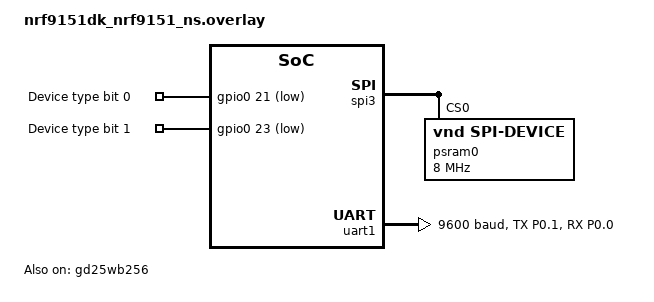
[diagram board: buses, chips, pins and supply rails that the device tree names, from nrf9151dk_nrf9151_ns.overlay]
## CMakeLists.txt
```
#
# Copyright (c) 2024 Nordic Semiconductor
#
# SPDX-License-Identifier: LicenseRef-Nordic-5-Clause
#

cmake_minimum_required(VERSION 3.20.0)

find_package(Zephyr REQUIRED HINTS $ENV{ZEPHYR_BASE})
project(hello_dect)

target_sources(app PRIVATE
  src/main.c
  src/radio.c
  src/mesh.c
  src/queue.c
  src/nvs_store.c
  src/identity.c
  src/at_cmd.c
  src/common.c
  src/display.c
  src/gateway/gateway.c
  src/anchor/anchor.c
  src/sensor/sensor.c
  src/psram.c
  src/large_data.c
)
```

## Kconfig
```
#
# Copyright (c) 2024 Nordic Semiconductor
#
# SPDX-License-Identifier: LicenseRef-Nordic-5-Clause
#

config CARRIER
	int "Carrier to use"
	default 0
	help
	   The availability of the channels and the exact regulation to use them varies in different countries.
	   See ETSI TS 103 636-2 5.4.2 for the calculation.
	   Band index 1 is set when the carrier is within the range of 525 to 551.
	   This is the only range allowed for band index 1 as other carriers will interfere with other radio devices, including LTE devices.

config NETWORK_ID
	int "Network ID"
	range 1 4294967295
	default 91

config MCS
	int "MCS"
	default 1
	help
	   The MCS impacts how much data can fit into each subslot.

config TX_POWER
	int "TX power"
	range 0 13
	default 13
	help
	   Transmission power, max 19 dBm due to hardware limitations.
	   See table 6.2.1-3 of ETSI TS 103 636-4 v1.5.1.

config RX_PERIOD_S
	int "RX period"
	default 5
	help
	   Receive window period.
	   Time is given in seconds.

config RADIO_LOG_LEVEL
	int "Radio log level"
	default 1

config ANCHOR_LOG_LEVEL
	int "Anchor log level"
	default 1

config GATEWAY_LOG_LEVEL
	int "Gateway log level"
	default 1

config SENSOR_LOG_LEVEL
	int "Sensor log level"
	default 1

config DISPLAY_LOG_LEVEL
	int "Display log level"
	default 1

config IDENTITY_LOG_LEVEL
	int "Identity log level"
	default 1

config LARGE_DATA_LOG_LEVEL
	int "Large data log level"
	default 1

config MAIN_LOG_LEVEL
	int "Main log level"
	default 1

config MESH_LOG_LEVEL
	int "Mesh log level"
	default 1

config NVS_STORE_LOG_LEVEL
	int "NVS store log level"
	default 1

config PSRAM_LOG_LEVEL
	int "PSRAM log level"
	default 1

config COMMON_LOG_LEVEL
	int "Common log level"
	default 1

config QUEUE_LOG_LEVEL
	int "Queue log level"
	default 1

module = DECT_PHY_MESH
module-str = DECT NR+ PHY Mesh
source "$(ZEPHYR_BASE)/subsys/logging/Kconfig.template.log_config"

menu "Zephyr Kernel"
source "Kconfig.zephyr"
endmenu
```

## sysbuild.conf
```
SB_CONFIG_BOOTLOADER_MCUBOOT=y
SB_CONFIG_PM_EXTERNAL_FLASH_MCUBOOT_SECONDARY=y
```

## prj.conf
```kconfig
CONFIG_NRF_MODEM_LIB=y

CONFIG_MODEM_ANTENNA=n

CONFIG_NRF_MODEM_LINK_BINARY_DECT_PHY=y
CONFIG_HWINFO=y

CONFIG_LOG=y

CONFIG_CARRIER=538
CONFIG_TX_POWER=13

CONFIG_MCS=0

# Flash / NVS on external flash for persistent storage
CONFIG_FLASH=y
CONFIG_FLASH_MAP=y
CONFIG_NVS=y

# SPI for ESP-PSRAM64 and external flash
CONFIG_SPI=y
CONFIG_SPI_NOR=y
CONFIG_SPI_NOR_SFDP_DEVICETREE=y
CONFIG_SPI_NOR_FLASH_LAYOUT_PAGE_SIZE=4096

# Random number generator (needed for pairing)
CONFIG_ENTROPY_GENERATOR=y

# GPIO for button (factory reset)
CONFIG_GPIO=y
CONFIG_DK_LIBRARY=y

# Reboot support
CONFIG_REBOOT=y

# System heap for sensor TX buffers and anchor relay reads
CONFIG_HEAP_MEM_POOL_SIZE=81920

# Main thread stack (gateway OTA upload + flash operations need more)
CONFIG_MAIN_STACK_SIZE=4096

# UART for DFR0997 LCD display (release UART1 from TF-M secure domain)
CONFIG_SERIAL=y
CONFIG_UART_NRFX=y
CONFIG_TFM_LOG_LEVEL_SILENCE=y

# Logs
CONFIG_RADIO_LOG_LEVEL=1
CONFIG_ANCHOR_LOG_LEVEL=4
CONFIG_GATEWAY_LOG_LEVEL=4
CONFIG_SENSOR_LOG_LEVEL=4
CONFIG_DISPLAY_LOG_LEVEL=4
CONFIG_IDENTITY_LOG_LEVEL=4
CONFIG_LARGE_DATA_LOG_LEVEL=4
CONFIG_MAIN_LOG_LEVEL=4
CONFIG_MESH_LOG_LEVEL=4
CONFIG_NVS_STORE_LOG_LEVEL=4
CONFIG_PSRAM_LOG_LEVEL=4
CONFIG_COMMON_LOG_LEVEL=4
CONFIG_QUEUE_LOG_LEVEL=4

# Console input for AT commands
CONFIG_CONSOLE_SUBSYS=y
CONFIG_CONSOLE_GETLINE=y

# MCUboot bootloader (OTA update support)
CONFIG_BOOTLOADER_MCUBOOT=y
CONFIG_IMG_MANAGER=y
CONFIG_MCUBOOT_IMG_MANAGER=y
CONFIG_IMG_ERASE_PROGRESSIVELY=y
CONFIG_STREAM_FLASH=y
CONFIG_PM_OVERRIDE_EXTERNAL_DRIVER_CHECK=y

# MCUmgr SMP server over UART (firmware upload via mcumgr CLI)
CONFIG_MCUMGR=y
CONFIG_MCUMGR_TRANSPORT_UART=y
CONFIG_MCUMGR_GRP_IMG=y
CONFIG_MCUMGR_GRP_OS=y
CONFIG_NET_BUF=y
CONFIG_ZCBOR=y
CONFIG_CRC=y
CONFIG_BASE64=y
```

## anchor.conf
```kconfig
CONFIG_DEVICE_TYPE=2
```

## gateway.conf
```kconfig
CONFIG_DEVICE_TYPE=1
```

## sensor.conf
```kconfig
CONFIG_DEVICE_TYPE=3
```

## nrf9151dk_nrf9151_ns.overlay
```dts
/*
 * Device-type selection pins (active-low, internal pull-up):
 *   P0.21  P0.23  →  type
 *     0      0       Gateway
 *     0      1       Anchor
 *     1      0       Sensor
 *     1      1       (reserved, defaults to Sensor)
 */
/ {
	chosen {
		nordic,pm-ext-flash = &gd25wb256;
	};

	device_type_pins {
		compatible = "gpio-keys";
		devtype_pin0: devtype_pin0 {
			gpios = <&gpio0 21 (GPIO_ACTIVE_LOW | GPIO_PULL_UP)>;
			label = "Device type bit 0";
		};
		devtype_pin1: devtype_pin1 {
			gpios = <&gpio0 23 (GPIO_ACTIVE_LOW | GPIO_PULL_UP)>;
			label = "Device type bit 1";
		};
	};
};

/*
 * SPI3 bus: both external flash (CS1=P0.20) and PSRAM (CS0=D10) coexist.
 * The SPI driver selects the correct CS based on the device's reg index.
 */

&gd25wb256 {
	status = "okay";
};

&spi3 {
	psram0: psram0@0 {
		compatible = "vnd,spi-device";
		reg = <0>;
		spi-max-frequency = <8000000>;
	};
};

/* UART1 for DFR0997 LCD display (9600 baud) */
&uart1 {
	status = "okay";
	current-speed = <9600>;
	pinctrl-0 = <&uart1_default>;
	pinctrl-1 = <&uart1_sleep>;
	pinctrl-names = "default", "sleep";
};

&pinctrl {
	uart1_default: uart1_default {
		group1 {
			psels = <NRF_PSEL(UART_TX, 0, 1)>,
				<NRF_PSEL(UART_RX, 0, 0)>;
		};
	};
	uart1_sleep: uart1_sleep {
		group1 {
			psels = <NRF_PSEL(UART_TX, 0, 1)>,
				<NRF_PSEL(UART_RX, 0, 0)>;
			low-power-enable;
		};
	};
};
```

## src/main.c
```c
/*
 * Copyright (c) 2024 Nordic Semiconductor ASA
 *
 * SPDX-License-Identifier: LicenseRef-Nordic-5-Clause
 */

#include <zephyr/kernel.h>
#include <zephyr/logging/log.h>
#include <zephyr/sys/reboot.h>
#include <zephyr/drivers/gpio.h>
#include <nrf_modem_dect_phy.h>
#include <modem/nrf_modem_lib.h>
#include <nrf_modem_at.h>
#include <zephyr/drivers/hwinfo.h>
#include <dk_buttons_and_leds.h>
#include "protocol.h"
#include "radio.h"
#include "nvs_store.h"
#include "identity.h"
#include "mesh.h"
#include "display.h"
#include "psram.h"
#include "large_data.h"
#include "at_cmd.h"
#include <zephyr/app_version.h>
#include <stdio.h>

LOG_MODULE_REGISTER(main, CONFIG_MAIN_LOG_LEVEL);

BUILD_ASSERT(CONFIG_CARRIER, "Carrier must be configured according to local regulations");

/* Device-type selection pins from devicetree */
#define DEVTYPE_PIN0_NODE DT_NODELABEL(devtype_pin0)
#define DEVTYPE_PIN1_NODE DT_NODELABEL(devtype_pin1)

static const struct gpio_dt_spec devtype_pin0 = GPIO_DT_SPEC_GET(DEVTYPE_PIN0_NODE, gpios);
static const struct gpio_dt_spec devtype_pin1 = GPIO_DT_SPEC_GET(DEVTYPE_PIN1_NODE, gpios);

/**
 * Read P0.21 and P0.23 to determine device type.
 *   P0.21=0, P0.23=0 → Gateway
 *   P0.21=0, P0.23=1 → Anchor
 *   P0.21=1, P0.23=0 → Sensor
 *   P0.21=1, P0.23=1 → Sensor (reserved)
 */
static device_type_t device_type_read_pins(void)
{
	int bit0, bit1;

	if (!gpio_is_ready_dt(&devtype_pin0) || !gpio_is_ready_dt(&devtype_pin1)) {
		LOG_ERR("Device-type GPIO not ready, defaulting to Sensor");
		return DEVICE_TYPE_SENSOR;
	}

	gpio_pin_configure_dt(&devtype_pin0, GPIO_INPUT);
	gpio_pin_configure_dt(&devtype_pin1, GPIO_INPUT);

	bit0 = gpio_pin_get_dt(&devtype_pin0);  /* P0.21 */
	bit1 = gpio_pin_get_dt(&devtype_pin1);  /* P0.23 */

	LOG_INF("Device-type pins: P0.21=%d P0.23=%d", bit0, bit1);

	if (bit0 == 0 && bit1 == 0) {
		return DEVICE_TYPE_GATEWAY;
	} else if (bit0 == 0 && bit1 == 1) {
		return DEVICE_TYPE_ANCHOR;
	} else {
		return DEVICE_TYPE_SENSOR;
	}
}

/* Shared device state */
uint16_t device_id;
device_type_t my_device_type;
uint8_t my_hop_num;

/* Factory reset: hold button 1 for 2 seconds */
#define FACTORY_RESET_HOLD_MS 2000

/* Button semaphores for sensor triggers */
K_SEM_DEFINE(btn2_sem, 0, 1);
K_SEM_DEFINE(btn3_sem, 0, 1);
K_SEM_DEFINE(btn4_sem, 0, 1);

static int64_t btn1_press_time;

static void button_handler(uint32_t button_state, uint32_t has_changed)
{
	if (has_changed & DK_BTN1_MSK) {
		if (button_state & DK_BTN1_MSK) {
			btn1_press_time = k_uptime_get();
		} else {
			int64_t held_ms = k_uptime_get() - btn1_press_time;

			if (held_ms >= FACTORY_RESET_HOLD_MS) {
				LOG_WRN("Factory reset! Clearing NVM...");
				int err = storage_clear_all();
				if (err) {
					LOG_ERR("NVM clear failed, err %d", err);
				}
				LOG_WRN("Factory reset complete. Rebooting...");
				k_sleep(K_MSEC(500));
				sys_reboot(SYS_REBOOT_COLD);
			}
		}
	}

	/* Button 2 press triggers small data send */
	if ((has_changed & DK_BTN2_MSK) && (button_state & DK_BTN2_MSK)) {
		k_sem_give(&btn2_sem);
	}

	/* Button 3 press triggers 50KB large data send */
	if ((has_changed & DK_BTN3_MSK) && (button_state & DK_BTN3_MSK)) {
		k_sem_give(&btn3_sem);
	}

	/* Button 4 press triggers 75KB large data send */
	if ((has_changed & DK_BTN4_MSK) && (button_state & DK_BTN4_MSK)) {
		k_sem_give(&btn4_sem);
	}
}

int main(void)
{
	int err;

	my_device_type = device_type_read_pins();

	if (my_device_type == DEVICE_TYPE_GATEWAY) {
		my_hop_num = 0;
	}

	LOG_INF("DECT NR+ Mesh [%s] v%s started",
		device_type_str(my_device_type), APP_VERSION_STRING);

	/* Initialize NVS storage */
	err = storage_init();
	if (err) {
		LOG_ERR("storage init failed, err %d", err);
		return err;
	}

	/* Load RSSI threshold from NVM (or use default) */
	mesh_rssi_threshold_load();

	/* Initialize buttons for factory reset */
	err = dk_buttons_init(button_handler);
	if (err) {
		LOG_ERR("buttons init failed, err %d", err);
		return err;
	}

	/* Initialize modem and PHY */
	err = nrf_modem_lib_init();
	if (err) {
		LOG_ERR("modem init failed, err %d", err);
		return err;
	}

	err = nrf_modem_dect_phy_event_handler_set(dect_phy_event_handler);
	if (err) {
		LOG_ERR("event_handler_set failed, err %d", err);
		return err;
	}

	// /* --- CW TX power test (must run before phy_init) --- */
	// LOG_INF("CW test: +19 dBm on carrier %d for 5s — check SA at J1", CONFIG_CARRIER);
	// err = nrf_modem_dect_phy_test_rf_tx_cw_control(
	// 	NRF_MODEM_DECT_PHY_TEST_RF_TX_CW_OPER_ON,
	// 	CONFIG_CARRIER, 19);
	// if (err) {
	// 	LOG_ERR("CW start failed: %d", err);
	// } else {
	// 	k_sem_take(&operation_sem, K_FOREVER);
	// 	k_sleep(K_SECONDS(100));
	// 	nrf_modem_dect_phy_test_rf_tx_cw_control(
	// 		NRF_MODEM_DECT_PHY_TEST_RF_TX_CW_OPER_OFF,
	// 		CONFIG_CARRIER, 0);
	// 	k_sem_take(&operation_sem, K_FOREVER);
	// 	LOG_INF("CW test done");
	// }
	// /* --- End CW test --- */

	err = nrf_modem_dect_phy_init();
	if (err) {
		LOG_ERR("phy_init failed, err %d", err);
		return err;
	}
	k_sem_take(&operation_sem, K_FOREVER);
	if (exit_flag) {
		return -EIO;
	}

	err = nrf_modem_dect_phy_configure(&dect_phy_config_params);
	if (err) {
		LOG_ERR("phy_configure failed, err %d", err);
		return err;
	}
	k_sem_take(&operation_sem, K_FOREVER);
	if (exit_flag) {
		return -EIO;
	}

	err = nrf_modem_dect_phy_activate(NRF_MODEM_DECT_PHY_RADIO_MODE_LOW_LATENCY);
	if (err) {
		LOG_ERR("phy_activate failed, err %d", err);
		return err;
	}
	k_sem_take(&operation_sem, K_FOREVER);
	if (exit_flag) {
		return -EIO;
	}

	hwinfo_get_device_id((void *)&device_id, sizeof(device_id));
	LOG_INF("PHY ready, device ID: %d", device_id);

	/* Initialize and show device type + ID on DFR0997 display */
	err = display_init();
	if (err) {
		LOG_WRN("display init failed, err %d (continuing)", err);
	} else {
		display_header(my_device_type, device_id);
	}

	/* Initialize PSRAM + large data transfer module */
	err = psram_init();
	if (err) {
		LOG_ERR("PSRAM init failed, err %d", err);
	} else {
		large_data_init();
	}

	/* Start AT command handler (reads from console UART) */
	at_cmd_init();

	/* Dispatch to device-type entry point */
	switch (my_device_type) {
	case DEVICE_TYPE_GATEWAY:
		gateway_main();
		break;
	case DEVICE_TYPE_ANCHOR:
		anchor_main();
		break;
	case DEVICE_TYPE_SENSOR:
		sensor_main();
		break;
	default:
		LOG_ERR("Unknown device type");
		break;
	}

	/* Shutdown */
	nrf_modem_dect_phy_deactivate();
	k_sem_take(&deinit_sem, K_FOREVER);
	nrf_modem_dect_phy_deinit();
	k_sem_take(&deinit_sem, K_FOREVER);
	nrf_modem_lib_shutdown();

	LOG_INF("Bye!");
	return 0;
}
```

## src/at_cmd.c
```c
/*
 * Custom AT command handler for DECT NR+ mesh network
 *
 * Uses Zephyr console_getline() API in a dedicated thread.
 * This coexists with MCUmgr SMP and logging on the same UART.
 *
 * Usage from serial terminal:
 *   AT              → OK
 *   AT+VERSION?     → +VERSION: 1.0.0
 *   AT+INFO?        → All device info
 *   AT+PAIR?        → List paired devices
 *   AT+OTA_STAGE    → Stage OTA + reboot
 *   AT+OTA_DIST     → Distribute OTA
 *   AT+RESET        → Reboot
 */

#include <string.h>
#include <stdio.h>
#include <stdlib.h>
#include <zephyr/kernel.h>
#include <zephyr/console/console.h>
#include <zephyr/sys/reboot.h>
#include <zephyr/app_version.h>
#include "at_cmd.h"
#include "identity.h"
#include "protocol.h"
#include "nvs_store.h"
#include "mesh.h"
#include "common.h"

/* Paired store pointers — set at runtime by gateway/anchor main.
 * NULL on sensor (no children). */
const void *gw_anchor_store_ptr;
const void *gw_sensor_store_ptr;

/* AT+SEND_*_DATA semaphores — signaled to gateway main loop */
K_SEM_DEFINE(send_small_data_sem, 0, 1);
K_SEM_DEFINE(send_large_data_sem, 0, 1);

/* AT+SENSOR_<ID> / AT+ANCHOR_<ID> — parent query for a specific device */
K_SEM_DEFINE(parent_query_sem, 0, 1);
uint16_t parent_query_sensor_id;

/* AT+SENSOR_ALL / AT+ANCHOR_ALL — parent query for all devices */
K_SEM_DEFINE(parent_query_all_sem, 0, 1);
uint8_t parent_query_all_filter;  /* DEVICE_TYPE_SENSOR or DEVICE_TYPE_ANCHOR */

/* AT+REPAIR — broadcast factory reset to all paired devices */
K_SEM_DEFINE(repair_sem, 0, 1);

/* AT+SET_RSSI_<dBm> — broadcast new RSSI threshold to all devices */
K_SEM_DEFINE(set_rssi_sem, 0, 1);
int16_t set_rssi_value;

/* Thread configuration */
#define AT_CMD_STACK_SIZE 2048
#define AT_CMD_PRIORITY   10

static K_THREAD_STACK_DEFINE(at_cmd_stack, AT_CMD_STACK_SIZE);
static struct k_thread at_cmd_thread;

/* ===== Command handlers ===== */

static void at_ok(void)
{
	printk("OK\r\n");
}

static void cmd_version(void)
{
	printk("+VERSION: %d.%d.%d\r\nOK\r\n",
	       APP_VERSION_MAJOR, APP_VERSION_MINOR, APP_PATCHLEVEL);
}

static void cmd_devtype(void)
{
	printk("+DEVTYPE: %s\r\nOK\r\n", device_type_str(my_device_type));
}

static void cmd_devid(void)
{
	printk("+DEVID: %d\r\nOK\r\n", device_id);
}

static void cmd_hop(void)
{
	printk("+HOP: %d\r\nOK\r\n", my_hop_num);
}

static void cmd_rssi(void)
{
	printk("+RSSI: %d\r\nOK\r\n", last_rssi_dbm);
}

static void cmd_carrier(void)
{
	printk("+CARRIER: %d\r\nOK\r\n", CONFIG_CARRIER);
}

static void cmd_txpower(void)
{
	printk("+TXPOWER: %d\r\nOK\r\n", CONFIG_TX_POWER);
}

static void cmd_get_rssi(void)
{
	printk("+GET_RSSI: %d dBm\r\nOK\r\n", mesh_rssi_threshold_2 / 2);
}

static void cmd_info(void)
{
	printk("+INFO:\r\n");
	printk("  Device: %s ID:%d\r\n",
	       device_type_str(my_device_type), device_id);
	printk("  Version: %d.%d.%d\r\n",
	       APP_VERSION_MAJOR, APP_VERSION_MINOR, APP_PATCHLEVEL);
	printk("  Hop: %d\r\n", my_hop_num);
	printk("  Carrier: %d\r\n", CONFIG_CARRIER);
	printk("  TX Power: %d dBm\r\n", CONFIG_TX_POWER);
	printk("  RSSI: %d dBm\r\n", last_rssi_dbm);
	printk("OK\r\n");
}

static void cmd_pair(void)
{
	if (my_device_type == DEVICE_TYPE_SENSOR) {
		printk("+PAIR: sensor has no children\r\nOK\r\n");
		return;
	}

	if (!gw_anchor_store_ptr || !gw_sensor_store_ptr) {
		printk("ERROR: paired stores not available\r\n");
		return;
	}

	const paired_store_t *a_store = gw_anchor_store_ptr;
	const paired_store_t *s_store = gw_sensor_store_ptr;
	paired_device_info_t info;

	printk("+PAIR: Anchors\r\n");
	for (int i = 0; i < a_store->max_entries; i++) {
		if (paired_store_get_info(a_store, i, &info) == 0) {
			printk("  [%d] ID:%d v%d.%d.%d\r\n", i,
			       info.device_id, info.version_major,
			       info.version_minor, info.version_patch);
		}
	}

	printk("+PAIR: Sensors\r\n");
	for (int i = 0; i < s_store->max_entries; i++) {
		if (paired_store_get_info(s_store, i, &info) == 0) {
			printk("  [%d] ID:%d v%d.%d.%d\r\n", i,
			       info.device_id, info.version_major,
			       info.version_minor, info.version_patch);
		}
	}

	printk("OK\r\n");
}

static void cmd_factory_reset(void)
{
	if (my_device_type == DEVICE_TYPE_GATEWAY ||
	    my_device_type == DEVICE_TYPE_ANCHOR) {
		printk("+FACTORY_RESET: broadcasting to paired devices...\r\n");
		k_sem_give(&repair_sem);
		/* Gateway/anchor main loop handles broadcast + local reset */
		return;
	}

	/* Sensor: local-only reset */
	printk("+FACTORY_RESET: clearing NVM and rebooting...\r\n");
	factory_reset_reboot();
}

static void cmd_reset(void)
{
	printk("+RESET: rebooting...\r\n");
	k_sleep(K_MSEC(200));
	sys_reboot(SYS_REBOOT_COLD);
}

static void cmd_send_small_data(void)
{
	if (my_device_type != DEVICE_TYPE_GATEWAY) {
		printk("+SEND_SMALL_DATA: only available on gateway\r\n");
		printk("ERROR\r\n");
		return;
	}
	printk("+SEND_SMALL_DATA: requesting small data from all sensors...\r\n");
	k_sem_give(&send_small_data_sem);
	printk("OK\r\n");
}

static void cmd_send_large_data(void)
{
	if (my_device_type != DEVICE_TYPE_GATEWAY) {
		printk("+SEND_LARGE_DATA: only available on gateway\r\n");
		printk("ERROR\r\n");
		return;
	}
	printk("+SEND_LARGE_DATA: requesting large data from all sensors...\r\n");
	k_sem_give(&send_large_data_sem);
	printk("OK\r\n");
}

static void cmd_repair(void)
{
	if (my_device_type != DEVICE_TYPE_GATEWAY) {
		printk("+REPAIR: only available on gateway\r\n");
		printk("ERROR\r\n");
		return;
	}
	printk("+REPAIR: broadcasting factory reset to all devices...\r\n");
	k_sem_give(&repair_sem);
	printk("OK\r\n");
}

static void cmd_help(void)
{
	printk("+HELP:\r\n");
	printk("  AT              Test\r\n");
	printk("  AT+VERSION?     Firmware version\r\n");
	printk("  AT+DEVTYPE?     Device type\r\n");
	printk("  AT+DEVID?       Device ID\r\n");
	printk("  AT+HOP?         Hop number\r\n");
	printk("  AT+RSSI?        Last RSSI\r\n");
	printk("  AT+CARRIER?     Carrier freq\r\n");
	printk("  AT+TXPOWER?     TX power\r\n");
	printk("  AT+GET_RSSI?    RSSI threshold\r\n");
	printk("  AT+INFO?        All device info\r\n");
	printk("  AT+PAIR?        Paired devices\r\n");
	printk("  AT+SENSOR_<ID>  Query sensor parent info (gateway)\r\n");
	printk("  AT+SENSOR_ALL   Query all sensors parent info (gateway)\r\n");
	printk("  AT+ANCHOR_<ID>  Query anchor parent info (gateway)\r\n");
	printk("  AT+ANCHOR_ALL   Query all anchors parent info (gateway)\r\n");
	printk("  AT+SEND_SMALL_DATA  Request small data (gateway)\r\n");
	printk("  AT+SEND_LARGE_DATA  Request large data (gateway)\r\n");
	printk("  AT+SET_RSSI_<dBm> Set RSSI threshold (gateway)\r\n");
	printk("  AT+REPAIR       Factory reset all devices (gateway)\r\n");
	printk("  AT+FACTORY_RESET  Factory reset\r\n");
	printk("  AT+RESET        Reboot\r\n");
	printk("  AT+HELP         This help\r\n");
	printk("OK\r\n");
}

/* ===== Dispatch table ===== */

static const struct {
	const char *cmd;
	void (*handler)(void);
} at_commands[] = {
	{ "",              at_ok },
	{ "+VERSION?",     cmd_version },
	{ "+DEVTYPE?",     cmd_devtype },
	{ "+DEVID?",       cmd_devid },
	{ "+HOP?",         cmd_hop },
	{ "+RSSI?",        cmd_rssi },
	{ "+CARRIER?",     cmd_carrier },
	{ "+TXPOWER?",     cmd_txpower },
	{ "+GET_RSSI?",    cmd_get_rssi },
	{ "+INFO?",        cmd_info },
	{ "+PAIR?",        cmd_pair },
	{ "+SEND_SMALL_DATA", cmd_send_small_data },
	{ "+SEND_LARGE_DATA", cmd_send_large_data },
	{ "+REPAIR",        cmd_repair },
	{ "+FACTORY_RESET", cmd_factory_reset },
	{ "+RESET",        cmd_reset },
	{ "+HELP",         cmd_help },
};

#define AT_CMD_COUNT (sizeof(at_commands) / sizeof(at_commands[0]))

/* ===== Device query helper ===== */

static bool handle_device_query_cmd(const char *cmd_part, const char *prefix,
				    const char *label, uint8_t filter)
{
	size_t plen = strlen(prefix);
	if (strncmp(cmd_part, prefix, plen) != 0) {
		return false;
	}
	const char *suffix = cmd_part + plen;
	if (my_device_type != DEVICE_TYPE_GATEWAY) {
		printk("+%s: only available on gateway\r\n", label);
		printk("ERROR\r\n");
	} else if (strcmp(suffix, "ALL") == 0) {
		printk("+%s_ALL: querying parent of all...\r\n", label);
		parent_query_all_filter = filter;
		k_sem_give(&parent_query_all_sem);
		printk("OK\r\n");
	} else if (*suffix == '\0') {
		printk("ERROR: missing %s ID\r\n", label);
	} else {
		parent_query_sensor_id = (uint16_t)atoi(suffix);
		printk("+%s: querying parent of ID:%d...\r\n", label, parent_query_sensor_id);
		k_sem_give(&parent_query_sem);
		printk("OK\r\n");
	}
	return true;
}

/* ===== Console getline thread ===== */

static void at_cmd_thread_entry(void *p1, void *p2, void *p3)
{
	ARG_UNUSED(p1);
	ARG_UNUSED(p2);
	ARG_UNUSED(p3);

	console_getline_init();

	while (true) {
		char *line = console_getline();

		if (!line || line[0] == '\0') {
			continue;
		}

		/* Convert to uppercase */
		for (int i = 0; line[i]; i++) {
			if (line[i] >= 'a' && line[i] <= 'z') {
				line[i] -= 32;
			}
		}

		/* Must start with "AT" */
		if (line[0] != 'A' || line[1] != 'T') {
			continue;
		}

		const char *cmd_part = line + 2;

		bool found = false;
		for (int i = 0; i < AT_CMD_COUNT; i++) {
			if (strcmp(cmd_part, at_commands[i].cmd) == 0) {
				at_commands[i].handler();
				found = true;
				break;
			}
		}

		if (!found) found = handle_device_query_cmd(cmd_part, "+SENSOR_", "SENSOR", DEVICE_TYPE_SENSOR);
		if (!found) found = handle_device_query_cmd(cmd_part, "+ANCHOR_", "ANCHOR", DEVICE_TYPE_ANCHOR);

		/* Check for AT+SET_RSSI_<dBm> */
		if (!found && strncmp(cmd_part, "+SET_RSSI_", 10) == 0) {
			const char *val_str = cmd_part + 10;

			if (my_device_type != DEVICE_TYPE_GATEWAY) {
				printk("+SET_RSSI: only available on gateway\r\n");
				printk("ERROR\r\n");
			} else if (*val_str == '\0') {
				printk("ERROR: missing RSSI value\r\n");
			} else {
				set_rssi_value = (int16_t)(-atoi(val_str));
				printk("+SET_RSSI: broadcasting threshold %d dBm to all devices...\r\n",
				       set_rssi_value);
				k_sem_give(&set_rssi_sem);
				printk("OK\r\n");
			}
			found = true;
		}

		if (!found) {
			printk("ERROR: unknown command\r\n");
		}
	}
}

/* ===== Public API ===== */

void at_cmd_init(void)
{
	k_thread_create(&at_cmd_thread, at_cmd_stack,
			AT_CMD_STACK_SIZE,
			at_cmd_thread_entry, NULL, NULL, NULL,
			AT_CMD_PRIORITY, 0, K_NO_WAIT);
	k_thread_name_set(&at_cmd_thread, "at_cmd");
}
```

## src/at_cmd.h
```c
/*
 * Custom AT command handler for DECT NR+ mesh network
 *
 * Runs a UART RX thread on the console UART (uart0).
 * Lines starting with "AT" are parsed and executed.
 * Non-AT data (logging, SMP) passes through unaffected.
 *
 * Supported commands:
 *   AT                       → OK (basic test)
 *   AT+VERSION?              → +VERSION: <major>.<minor>.<patch>
 *   AT+DEVTYPE?              → +DEVTYPE: GATEWAY|ANCHOR|SENSOR
 *   AT+DEVID?                → +DEVID: <id>
 *   AT+HOP?                  → +HOP: <hop_num>
 *   AT+RSSI?                 → +RSSI: <dBm>
 *   AT+CARRIER?              → +CARRIER: <carrier>
 *   AT+TXPOWER?              → +TXPOWER: <dBm>
 *   AT+PAIR?                 → List all paired devices with version
 *   AT+OTA_STAGE             → Copy secondary → staging + reboot (gateway)
 *   AT+OTA_DIST              → Distribute OTA to mesh (gateway)
 *   AT+OTA_STATUS?           → +OTA_STATUS: staging version + validity
 *   AT+FACTORY_RESET         → Clear NVM + staging + reboot
 *   AT+RESET                 → Reboot
 *   AT+SEND_DATA             → Request all sensors to send data (gateway)
 */

#ifndef AT_CMD_H
#define AT_CMD_H

#include <zephyr/kernel.h>

/* Initialize the AT command handler.
 * Starts a UART RX thread that reads lines from the console UART.
 * Call once from main after all subsystems are initialized. */
void at_cmd_init(void);

/* Semaphores signaled by AT+SEND_SMALL_DATA / AT+SEND_LARGE_DATA.
 * Gateway main loop checks these to initiate data requests. */
extern struct k_sem send_small_data_sem;
extern struct k_sem send_large_data_sem;

/* AT+SENSOR_<ID> / AT+ANCHOR_<ID> — parent query for a specific device.
 * Gateway main loop checks parent_query_sem, reads parent_query_sensor_id,
 * sends PARENT_QUERY, and logs the PARENT_RESPONSE. */
extern struct k_sem parent_query_sem;
extern uint16_t parent_query_sensor_id;

/* AT+SENSOR_ALL / AT+ANCHOR_ALL — query parent info for all devices.
 * Sends PARENT_QUERY to all paired anchors and sensors.
 * parent_query_all_filter: DEVICE_TYPE_SENSOR or DEVICE_TYPE_ANCHOR */
extern struct k_sem parent_query_all_sem;
extern uint8_t parent_query_all_filter;

/* AT+REPAIR — broadcast factory reset to all paired devices, then self.
 * Gateway main loop checks this, sends REPAIR to all, waits 2s, resets. */
extern struct k_sem repair_sem;

/* AT+SET_RSSI_<dBm> — broadcast new RSSI threshold to all devices.
 * Gateway main loop checks set_rssi_sem, reads set_rssi_value,
 * broadcasts SET_RSSI, stores in NVM, then reboots. */
extern struct k_sem set_rssi_sem;
extern int16_t set_rssi_value;

#endif /* AT_CMD_H */
```

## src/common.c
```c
/*
 * Shared helpers for DECT NR+ mesh network
 */

#include <string.h>
#include <zephyr/kernel.h>
#include <zephyr/logging/log.h>
#include <zephyr/sys/reboot.h>
#include "common.h"
#include "identity.h"
#include "protocol.h"
#include "radio.h"
#include "queue.h"
#include "mesh.h"
#include "mesh_tx.h"
#include "crc.h"
#include "nvs_store.h"
#include "log_all.h"

LOG_MODULE_REGISTER(common, CONFIG_COMMON_LOG_LEVEL);

/* === Transmit and wait === */

int transmit_and_wait(void *data, size_t len)
{
	int err = transmit(TX_HANDLE, data, len);

	if (err) {
		return err;
	}
	k_sem_take(&operation_sem, K_FOREVER);
	return 0;
}

/* === Pair request handler (used by gateway + anchor) === */

void common_handle_pair_request(const pair_request_packet_t *pkt,
				int16_t rssi_2)
{
	ALL_INF("Pair request from %s ID:%d (RSSI:%d)",
		device_type_str(pkt->device_type), pkt->device_id,
		rssi_2 / 2);

	uint32_t hash = compute_pair_hash(pkt->device_id, pkt->random_num);

	int err = send_pair_response(TX_HANDLE, pkt->device_id, hash);

	if (err) {
		LOG_ERR("Failed to send pair response, err %d", err);
		return;
	}
	k_sem_take(&operation_sem, K_FOREVER);

	ALL_INF("Pair response sent to ID:%d", pkt->device_id);
}

/* === Data CRC verify + ACK === */

int common_data_verify_and_ack(const data_packet_t *pkt, uint16_t len,
			       int16_t rssi_2)
{
	if (pkt->dst_device_id != device_id) {
		return -1;
	}

	uint16_t payload_len = pkt->payload_len;
	uint16_t rx_crc;

	memcpy(&rx_crc, &pkt->payload[payload_len], sizeof(rx_crc));
	uint16_t calc_crc = compute_crc16(pkt->payload, payload_len);
	uint8_t status = (rx_crc == calc_crc) ? STATUS_SUCCESS
					      : STATUS_CRC_FAIL;

	if (status == STATUS_SUCCESS) {
		ALL_INF("Data from ID:%d (%d bytes, RSSI:%d) CRC OK",
			pkt->src_device_id, payload_len, rssi_2 / 2);
	} else {
		ALL_WRN("Data from ID:%d (%d bytes, RSSI:%d) CRC FAIL",
			pkt->src_device_id, payload_len, rssi_2 / 2);
	}

	data_ack_packet_t ack = {
		.packet_type = PACKET_TYPE_DATA_ACK,
		.src_device_id = device_id,
		.dst_device_id = pkt->src_device_id,
		.hop_num = my_hop_num,
		.status = status,
	};

	int err = transmit_and_wait(&ack, sizeof(ack));

	if (err) {
		ALL_ERR("Failed to send data ACK, err %d", err);
		return -2;
	}

	ALL_INF("Data ACK sent to ID:%d (status:%s)", pkt->src_device_id,
		status == STATUS_SUCCESS ? "OK" : "CRC_FAIL");

	return (int)status;
}

/* === Discovery response draining === */

void drain_discovery_responses(bool log_each)
{
	struct rx_queue_item item;

	while (rx_queue_get(&item, K_NO_WAIT) == 0) {
		if (item.len < 1) {
			continue;
		}
		if (item.data[0] != PACKET_TYPE_PAIR_RESPONSE ||
		    item.len < PAIR_RESPONSE_PACKET_SIZE) {
			continue;
		}
		const pair_response_packet_t *resp =
			(const pair_response_packet_t *)item.data;
		if (resp->dst_device_id != device_id) {
			continue;
		}
		discovery_add_response(resp, item.rssi_2);
		if (log_each) {
			ALL_INF("Got pair response from %s ID:%d hop:%d "
				"RSSI:%d",
				device_type_str(resp->device_type),
				resp->device_id, resp->hop_num,
				item.rssi_2 / 2);
		}
	}
}

/* === Factory reset === */

void factory_reset_reboot(void)
{
	ALL_INF("Clearing NVM and rebooting...");
	storage_clear_all();
	k_sleep(K_MSEC(500));
	sys_reboot(SYS_REBOOT_COLD);
}

/* === RSSI store and reboot === */

void rssi_store_and_reboot(int16_t rssi_dbm)
{
	ALL_INF("Storing RSSI threshold %d dBm and rebooting...", rssi_dbm);
	mesh_rssi_threshold_store(rssi_dbm);
	k_sleep(K_MSEC(500));
	sys_reboot(SYS_REBOOT_COLD);
}
```

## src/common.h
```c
/*
 * Shared helpers for DECT NR+ mesh network
 *
 * Functions used by gateway, anchor, and sensor to avoid duplication.
 */

#ifndef COMMON_H
#define COMMON_H

#include <stdint.h>
#include <stddef.h>
#include <stdbool.h>
#include "protocol.h"

/* Shared TX handle used by all device roles */
#define TX_HANDLE 1

/* Transmit data and block until the modem operation completes. */
int transmit_and_wait(void *data, size_t len);

/* Handle an incoming PAIR_REQUEST: compute hash, send PAIR_RESPONSE. */
void common_handle_pair_request(const pair_request_packet_t *pkt,
				int16_t rssi_2);

/*
 * Verify CRC on a DATA packet and send ACK back to sender.
 * Returns STATUS_SUCCESS (0) if CRC matched.
 * Returns STATUS_CRC_FAIL (2) if CRC failed.
 * Returns -1 if packet not addressed to us.
 * Returns -2 if ACK TX failed.
 */
int common_data_verify_and_ack(const data_packet_t *pkt, uint16_t len,
			       int16_t rssi_2);

/* Drain RX queue, collecting PAIR_RESPONSEs into discovery subsystem.
 * If log_each is true, logs each response as it is received. */
void drain_discovery_responses(bool log_each);

/* Factory reset: clear all NVM, sleep 500 ms, cold reboot. Does not return. */
void factory_reset_reboot(void);

/* Store RSSI threshold in NVM, sleep 500 ms, cold reboot. Does not return. */
void rssi_store_and_reboot(int16_t rssi_dbm);

#endif /* COMMON_H */
```

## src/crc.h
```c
/*
 * CRC, hashing, and random utilities for DECT NR+ mesh network
 */

#ifndef CRC_H
#define CRC_H

#include <stdint.h>

/* CRC16 for data integrity */
uint16_t compute_crc16(const void *data, uint32_t len);
uint16_t compute_crc16_continue(uint16_t crc, const void *data, uint32_t len);

/* Compute pairing hash */
uint32_t compute_pair_hash(uint16_t dev_id, uint32_t random_num);

/* Random number */
uint32_t next_random(void);

#endif /* CRC_H */
```

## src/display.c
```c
/*
 * DFR0997 UART LCD Display Driver
 *
 * 320x240 IPS TFT with onboard ESP32-S3 running LVGL.
 * UART packet: 0x55 0xAA <len> <cmd> <payload...>
 *   where len = total_packet_length - 3
 * Default baud: 9600, 8N1
 *
 * Reference: DFRobot_LcdDisplay library source
 */

#include <zephyr/kernel.h>
#include <zephyr/device.h>
#include <zephyr/drivers/uart.h>
#include <zephyr/logging/log.h>
#include <string.h>
#include <stdarg.h>
#include <stdio.h>
#include "display.h"
#include "protocol.h"

LOG_MODULE_REGISTER(display, CONFIG_DISPLAY_LOG_LEVEL);

/* Protocol header */
#define HDR_H 0x55
#define HDR_L 0xAA

/* ---------- LCD log queue & worker thread ---------- */
#define DISPLAY_LOG_FMT_LEN      80
#define DISPLAY_LOG_QUEUE_DEPTH  64
#define DISPLAY_LOG_STACK_SIZE   1024
#define DISPLAY_LOG_THREAD_PRIO  10

/* Forward declaration — defined after the log buffer is set up */
static void display_log_add(const char *text, uint8_t r, uint8_t g, uint8_t b);

struct display_log_msg {
	char     text[DISPLAY_LOG_FMT_LEN];
	uint8_t  r, g, b;
};

K_MSGQ_DEFINE(display_log_q, sizeof(struct display_log_msg),
	      DISPLAY_LOG_QUEUE_DEPTH, 4);

static void display_log_thread_fn(void *p1, void *p2, void *p3)
{
	ARG_UNUSED(p1); ARG_UNUSED(p2); ARG_UNUSED(p3);

	struct display_log_msg msg;

	while (true) {
		k_msgq_get(&display_log_q, &msg, K_FOREVER);
		display_log_add(msg.text, msg.r, msg.g, msg.b);
	}
}

K_THREAD_DEFINE(display_log_tid, DISPLAY_LOG_STACK_SIZE,
		display_log_thread_fn, NULL, NULL, NULL,
		DISPLAY_LOG_THREAD_PRIO, 0, 0);

/* Command IDs */
#define CMD_DRAW_TEXT     0x18
#define CMD_SET_BG_COLOR  0x19
#define CMD_CLEAN_SCREEN  0x1D

/* Object ID counter (each drawn object gets a unique ID) */
static uint8_t next_obj_id = 1;

static const struct device *uart_dev;
static bool display_ready;

/* Scrolling log buffer */
#define DISPLAY_LOG_MAX_LINES 10
#define DISPLAY_LOG_LINE_LEN  35

struct log_entry {
	char text[DISPLAY_LOG_LINE_LEN];
	uint8_t r, g, b;
};

static struct log_entry log_buffer[DISPLAY_LOG_MAX_LINES];
static int log_count;

/* Cached header info for redraw */
static device_type_t header_type;
static uint16_t header_device_id;
static bool header_saved;
static int16_t header_rssi_dbm = 1;  /* sentinel: 1 = no packet received yet */

static void uart_send(const uint8_t *data, size_t len)
{
	for (size_t i = 0; i < len; i++) {
		uart_poll_out(uart_dev, data[i]);
	}
}

int display_init(void)
{
	uart_dev = DEVICE_DT_GET(DT_NODELABEL(uart1));
	if (!device_is_ready(uart_dev)) {
		LOG_ERR("UART1 device not ready");
		return -ENODEV;
	}

	/* Give the ESP32-S3 on the display time to boot */
	k_sleep(K_MSEC(2000));

	display_clear();
	display_set_bg(0, 0, 0);
	display_ready = true;

	LOG_INF("DFR0997 display initialized on UART1");
	return 0;
}

void display_clear(void)
{
	/* cleanScreen: 55 AA 01 1D */
	uint8_t pkt[] = { HDR_H, HDR_L, 0x01, CMD_CLEAN_SCREEN };

	uart_send(pkt, sizeof(pkt));
	k_sleep(K_MSEC(150));
	next_obj_id = 1;
}

void display_set_bg(uint8_t r, uint8_t g, uint8_t b)
{
	/* setBackgroundColor: 55 AA 04 19 RR GG BB */
	uint8_t pkt[] = { HDR_H, HDR_L, 0x04, CMD_SET_BG_COLOR, r, g, b };

	uart_send(pkt, sizeof(pkt));
	k_sleep(K_MSEC(25));
}

void display_draw_string(uint16_t x, uint16_t y, const char *text,
			 uint8_t font_size, uint8_t r, uint8_t g, uint8_t b)
{
	size_t text_len = strlen(text);

	if (text_len > 110) {
		text_len = 110;
	}

	/* Total packet = 13 + text_len bytes
	 * len byte = total - 3 = 10 + text_len
	 * Layout: [55] [AA] [len] [18] [id] [fontSize] [R] [G] [B]
	 *         [x_hi] [x_lo] [y_hi] [y_lo] [text...]
	 */
	uint8_t pkt[128];
	uint8_t id = next_obj_id++;

	pkt[0] = HDR_H;
	pkt[1] = HDR_L;
	pkt[2] = (uint8_t)(10 + text_len);   /* length = total - 3 */
	pkt[3] = CMD_DRAW_TEXT;
	pkt[4] = id;
	pkt[5] = font_size;
	pkt[6] = r;
	pkt[7] = g;
	pkt[8] = b;
	pkt[9] = (x >> 8) & 0xFF;
	pkt[10] = x & 0xFF;
	pkt[11] = (y >> 8) & 0xFF;
	pkt[12] = y & 0xFF;
	memcpy(&pkt[13], text, text_len);

	uart_send(pkt, 13 + text_len);
	k_sleep(K_MSEC(50));
}

static void display_redraw_header(void)
{
	char line[10];
	snprintf(line, sizeof(line), "ID: %d", header_device_id);

	switch (header_type)
	{
	case DEVICE_TYPE_GATEWAY:
		display_draw_string(10, 0, "GATEWAY", 15, 0, 255, 255);
		break;
	case DEVICE_TYPE_ANCHOR:
		display_draw_string(10, 0, "ANCHOR", 15, 0, 255, 255);
		break;
	case DEVICE_TYPE_SENSOR:
		display_draw_string(10, 0, "SENSOR", 15, 0, 255, 255);
		break;
	default:
		display_draw_string(10, 0, "UNKNOWN", 15, 0, 255, 255);
		break;
	}
	display_draw_string(100, 0, line, 15, 0, 255, 255);

	char rssi_str[16];
	if (header_rssi_dbm == 1) {
		snprintf(rssi_str, sizeof(rssi_str), "RSSI:");
	} else {
		snprintf(rssi_str, sizeof(rssi_str), "RSSI:%ddBm", header_rssi_dbm);
	}
	display_draw_string(180, 0, rssi_str, 15, 0, 255, 0);

	display_draw_string(0, 10, "----------------------------------------------------------------", 15, 255, 255, 255);
}

static bool need_full_redraw;

static void display_log_redraw(int new_lines)
{
	if (need_full_redraw) {
		need_full_redraw = false;
		display_clear();
		display_set_bg(0, 0, 0);

		if (header_saved) {
			display_redraw_header();
		}

		for (int i = 0; i < log_count; i++) {
			display_draw_string(0, 30 + i * 20,
						log_buffer[i].text, 15,
						log_buffer[i].r,
						log_buffer[i].g,
						log_buffer[i].b);
		}
	} else {
		/* Draw only the newly added lines */
		int start = log_count - new_lines;

		for (int i = start; i < log_count; i++) {
			display_draw_string(0, 30 + i * 20,
						log_buffer[i].text, 15,
						log_buffer[i].r,
						log_buffer[i].g,
						log_buffer[i].b);
		}
	}
}

#define DISPLAY_LOG_WRAP_LEN  35

static void display_log_push_line(const char *text, size_t len,
				  uint8_t r, uint8_t g, uint8_t b)
{
	if (log_count >= DISPLAY_LOG_MAX_LINES) {
		memmove(&log_buffer[0], &log_buffer[1],
			sizeof(struct log_entry) * (DISPLAY_LOG_MAX_LINES - 1));
		log_count = DISPLAY_LOG_MAX_LINES - 1;
		need_full_redraw = true;
	}

	size_t copy_len = (len < DISPLAY_LOG_LINE_LEN - 1) ? len : (DISPLAY_LOG_LINE_LEN - 1);
	memcpy(log_buffer[log_count].text, text, copy_len);
	log_buffer[log_count].text[copy_len] = '\0';
	log_buffer[log_count].r = r;
	log_buffer[log_count].g = g;
	log_buffer[log_count].b = b;
	log_count++;
}

static size_t find_wrap_point(const char *text, size_t len)
{
	if (len <= DISPLAY_LOG_WRAP_LEN) {
		return len;
	}

	/* Search backward from wrap limit for a space */
	for (size_t i = DISPLAY_LOG_WRAP_LEN; i > 0; i--) {
		if (text[i] == ' ') {
			return i;
		}
	}

	/* No space found, hard break */
	return DISPLAY_LOG_WRAP_LEN;
}

static void display_log_add(const char *text, uint8_t r, uint8_t g, uint8_t b)
{
	size_t total_len = strlen(text);
	const char *p = text;
	int new_lines = 0;

	while (total_len > 0) {
		size_t chunk = find_wrap_point(p, total_len);
		display_log_push_line(p, chunk, r, g, b);
		new_lines++;
		p += chunk;
		total_len -= chunk;

		/* Skip the space at the break point */
		if (total_len > 0 && *p == ' ') {
			p++;
			total_len--;
		}
	}

	display_log_redraw(new_lines);
}

void display_header(device_type_t type, uint16_t device_id)
{
	if (!display_ready) {
		LOG_WRN("Display not ready, cannot show header");
		return;
	}

	header_type = type;
	header_device_id = device_id;
	header_saved = true;

	display_redraw_header();
}

void display_update_rssi(int16_t rssi_dbm)
{
	if (!display_ready || !header_saved) {
		return;
	}

	header_rssi_dbm = rssi_dbm;

	// char rssi_str[16];
	// snprintf(rssi_str, sizeof(rssi_str), "RSSI:%ddBm", rssi_dbm);
	// display_draw_string(180, 0, rssi_str, 15, 0, 255, 0);
}

static void display_log_enqueue(const char *fmt, va_list args,
				uint8_t r, uint8_t g, uint8_t b)
{
	if (!display_ready) {
		return;
	}

	struct display_log_msg msg = { .r = r, .g = g, .b = b };

	vsnprintf(msg.text, sizeof(msg.text), fmt, args);

	/* Non-blocking: drop the message if the queue is full */
	if (k_msgq_put(&display_log_q, &msg, K_NO_WAIT) != 0) {
		LOG_WRN("display log queue full, message dropped");
	}
}

void DISPLAY_LOG_INF(const char *fmt, ...)
{
	va_list args;
	va_start(args, fmt);
	display_log_enqueue(fmt, args, 255, 255, 255);
	va_end(args);
}

void DISPLAY_LOG_WRN(const char *fmt, ...)
{
	va_list args;
	va_start(args, fmt);
	display_log_enqueue(fmt, args, 255, 255, 0);
	va_end(args);
}

void DISPLAY_LOG_ERR(const char *fmt, ...)
{
	va_list args;
	va_start(args, fmt);
	display_log_enqueue(fmt, args, 255, 0, 0);
	va_end(args);
}
```

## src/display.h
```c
/*
 * DFR0997 UART LCD Display Driver
 * 320x240 IPS TFT with ESP32-S3 controller
 * Serial mode: 9600 baud, 8N1
 * Protocol: 0x55 0xAA <len> <cmd> <payload...>
 */

#ifndef DISPLAY_H
#define DISPLAY_H

#include <stdint.h>
#include <stdbool.h>
#include "protocol.h"

/* Initialize UART1 for the DFR0997 display */
int display_init(void);

/* Clear all objects from the display */
void display_clear(void);

/* Set background color (RGB) */
void display_set_bg(uint8_t r, uint8_t g, uint8_t b);

/* Draw a text string at pixel position (x, y) with font size and color */
void display_draw_string(uint16_t x, uint16_t y, const char *text, uint8_t font_size, uint8_t r, uint8_t g, uint8_t b);

/* Draw device type and ID header (called on startup after PHY init) */
void display_header(device_type_t type, uint16_t device_id);

/* Update the RSSI value shown in the header area */
void display_update_rssi(int16_t rssi_dbm);

/* Log a message on the display */
void DISPLAY_LOG_INF(const char *fmt, ...);
void DISPLAY_LOG_WRN(const char *fmt, ...);
void DISPLAY_LOG_ERR(const char *fmt, ...);

#endif /* DISPLAY_H */
```

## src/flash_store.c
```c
/*
 * External flash storage for large data reassembly
 *
 * Uses the raw flash driver API on the external SPI flash (GD25WB256).
 * Base address comes from Partition Manager.
 */

#include <zephyr/kernel.h>
#include <zephyr/logging/log.h>
#include <zephyr/drivers/flash.h>
#include <zephyr/device.h>
#include <zephyr/devicetree.h>
#include "flash_store.h"

LOG_MODULE_REGISTER(flash_store, CONFIG_FLASH_STORE_LOG_LEVEL);

#define EXT_FLASH_NODE DT_NODELABEL(gd25wb256)

static const struct device *flash_dev;
static bool flash_ready;

int flash_store_init(void)
{
	flash_dev = DEVICE_DT_GET(EXT_FLASH_NODE);
	if (!device_is_ready(flash_dev)) {
		LOG_ERR("External flash device not ready");
		return -ENODEV;
	}

	flash_ready = true;
	LOG_INF("External flash initialized");
	return 0;
}

int flash_store_erase_slot(uint8_t slot)
{
	if (!flash_ready || slot >= FLASH_STORE_MAX_SLOTS) {
		return -EINVAL;
	}

	uint32_t offset = FLASH_STORE_BASE_OFFSET +
			  (uint32_t)slot * FLASH_STORE_SLOT_SIZE;

	int err = flash_erase(flash_dev, offset, FLASH_STORE_SLOT_SIZE);

	if (err) {
		LOG_ERR("Flash erase slot %d failed, err %d", slot, err);
	}

	return err;
}

int flash_store_write(uint8_t slot, uint32_t offset,
		      const void *data, uint16_t len)
{
	if (!flash_ready || slot >= FLASH_STORE_MAX_SLOTS) {
		return -EINVAL;
	}

	uint32_t abs_offset = FLASH_STORE_BASE_OFFSET +
			     (uint32_t)slot * FLASH_STORE_SLOT_SIZE + offset;

	return flash_write(flash_dev, abs_offset, data, len);
}

int flash_store_read(uint8_t slot, uint32_t offset,
		     void *buf, uint16_t len)
{
	if (!flash_ready || slot >= FLASH_STORE_MAX_SLOTS) {
		return -EINVAL;
	}

	uint32_t abs_offset = FLASH_STORE_BASE_OFFSET +
			     (uint32_t)slot * FLASH_STORE_SLOT_SIZE + offset;

	return flash_read(flash_dev, abs_offset, buf, len);
}

uint16_t flash_store_compute_crc16(uint8_t slot, uint32_t total_size)
{
	uint8_t buf[FLASH_STORE_READ_CHUNK];
	uint16_t crc = 0xFFFF;
	uint32_t remaining = total_size;
	uint32_t offset = 0;

	while (remaining > 0) {
		uint16_t chunk = (remaining > FLASH_STORE_READ_CHUNK) ?
				 FLASH_STORE_READ_CHUNK : (uint16_t)remaining;

		int err = flash_store_read(slot, offset, buf, chunk);

		if (err) {
			LOG_ERR("Flash read for CRC failed at offset %d, err %d",
				offset, err);
			return 0;
		}

		/* CRC-16/CCITT (same algorithm as compute_crc16 in mesh.c) */
		for (uint16_t i = 0; i < chunk; i++) {
			crc ^= (uint16_t)buf[i] << 8;
			for (int j = 0; j < 8; j++) {
				if (crc & 0x8000) {
					crc = (crc << 1) ^ 0x1021;
				} else {
					crc <<= 1;
				}
			}
		}

		offset += chunk;
		remaining -= chunk;
	}

	return crc;
}
```

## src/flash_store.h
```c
/*
 * External flash storage for large data reassembly
 *
 * Provides a simple block-based API over the external SPI flash.
 * Each large data session gets a reserved region in flash.
 * Fragments are written directly to their offset within the region.
 *
 * Base address is set by Partition Manager (PM_LARGE_DATA_ADDRESS).
 */

#ifndef FLASH_STORE_H
#define FLASH_STORE_H

#include <stdint.h>
#include <stddef.h>
#include <pm_config.h>

/* Base offset of large_data region on external flash.
 * Placed after mcuboot_secondary (0xe8000) + ota_staging (0x80000). */
#define FLASH_STORE_BASE_OFFSET (PM_MCUBOOT_SECONDARY_END_ADDRESS + 0x80000)

/* Number of flash slots (must match LARGE_DATA_MAX_SESSIONS) */
#define FLASH_STORE_MAX_SLOTS 4

/* Size of each session slot in flash (256KB — fits LARGE_DATA_MAX_SIZE) */
#define FLASH_STORE_SLOT_SIZE (256 * 1024)

/* Flash erase block size (4KB for GD25WB256) */
#define FLASH_STORE_ERASE_SIZE 4096

/* Chunk size for CRC computation and relay reads */
#define FLASH_STORE_READ_CHUNK 512

/* Initialize flash store (get flash device reference) */
int flash_store_init(void);

/* Erase a session slot (must be called before writing fragments) */
int flash_store_erase_slot(uint8_t slot);

/* Write a fragment to a session slot at the given offset */
int flash_store_write(uint8_t slot, uint32_t offset,
		      const void *data, uint16_t len);

/* Read data from a session slot at the given offset */
int flash_store_read(uint8_t slot, uint32_t offset,
		     void *buf, uint16_t len);

/* Compute CRC-16 over data stored in flash (reads in chunks) */
uint16_t flash_store_compute_crc16(uint8_t slot, uint32_t total_size);

#endif /* FLASH_STORE_H */
```

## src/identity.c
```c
/*
 * Device identity and paired-device registry for DECT NR+ mesh network
 */

#include <zephyr/kernel.h>
#include <zephyr/logging/log.h>
#include "identity.h"
#include "nvs_store.h"
#include "log_all.h"

LOG_MODULE_REGISTER(identity, CONFIG_IDENTITY_LOG_LEVEL);

/* ===== Node identity helpers ===== */

int node_store_identity(const node_identity_t *id)
{
	return storage_write(NVS_IDENTITY_KEY, id, sizeof(*id));
}

int node_load_identity(node_identity_t *id)
{
	return storage_read(NVS_IDENTITY_KEY, id, sizeof(*id));
}

bool node_has_identity(void)
{
	return storage_exists(NVS_IDENTITY_KEY);
}

/* ===== Paired device registry ===== */

static int find_slot(const paired_store_t *ps, uint16_t dev_id, bool *found)
{
	paired_device_info_t info;
	int first_empty = -1;

	*found = false;
	for (int i = 0; i < ps->max_entries; i++) {
		if (storage_read(ps->nvs_base + i, &info, sizeof(info)) == 0) {
			if (info.device_id == dev_id) {
				*found = true;
				return i;
			}
		} else if (first_empty < 0) {
			first_empty = i;
		}
	}
	return first_empty;
}

int paired_store_add(const paired_store_t *ps, uint16_t dev_id,
		     uint8_t dev_type,
		     uint8_t ver_major, uint8_t ver_minor, uint16_t ver_patch)
{
	bool found;
	int slot = find_slot(ps, dev_id, &found);

	if (found) {
		/* Update if already present */
		paired_device_info_t info = {
			.device_id = dev_id,
			.device_type = dev_type,
			.version_major = ver_major,
			.version_minor = ver_minor,
			.version_patch = ver_patch,
		};
		return storage_write(ps->nvs_base + slot, &info, sizeof(info));
	}
	if (slot < 0) {
		LOG_WRN("%s storage full", ps->label);
		return -ENOMEM;
	}

	paired_device_info_t info = {
		.device_id = dev_id,
		.device_type = dev_type,
		.version_major = ver_major,
		.version_minor = ver_minor,
		.version_patch = ver_patch,
	};
	return storage_write(ps->nvs_base + slot, &info, sizeof(info));
}

bool paired_store_contains(const paired_store_t *ps, uint16_t dev_id)
{
	bool found;

	find_slot(ps, dev_id, &found);
	return found;
}

int paired_store_count(const paired_store_t *ps)
{
	int count = 0;
	paired_device_info_t info;

	for (int i = 0; i < ps->max_entries; i++) {
		if (storage_read(ps->nvs_base + i, &info, sizeof(info)) == 0) {
			count++;
		}
	}
	return count;
}

int paired_store_get(const paired_store_t *ps, int index, uint16_t *dev_id)
{
	if (index < 0 || index >= ps->max_entries) {
		return -EINVAL;
	}
	paired_device_info_t info;
	int err = storage_read(ps->nvs_base + index, &info, sizeof(info));
	if (err) {
		return err;
	}
	*dev_id = info.device_id;
	return 0;
}

int paired_store_get_info(const paired_store_t *ps, int index,
			  paired_device_info_t *info)
{
	if (index < 0 || index >= ps->max_entries) {
		return -EINVAL;
	}
	return storage_read(ps->nvs_base + index, info, sizeof(*info));
}

int paired_store_find(const paired_store_t *ps, uint16_t dev_id,
		      paired_device_info_t *info)
{
	paired_device_info_t tmp;

	for (int i = 0; i < ps->max_entries; i++) {
		if (storage_read(ps->nvs_base + i, &tmp, sizeof(tmp)) == 0) {
			if (tmp.device_id == dev_id) {
				*info = tmp;
				return 0;
			}
		}
	}
	return -ENOENT;
}

int paired_store_update_version(const paired_store_t *ps, uint16_t dev_id,
				uint8_t ver_major, uint8_t ver_minor,
				uint16_t ver_patch)
{
	bool found;
	int slot = find_slot(ps, dev_id, &found);

	if (!found) {
		return -ENOENT;
	}

	paired_device_info_t info = {
		.device_id = dev_id,
		.version_major = ver_major,
		.version_minor = ver_minor,
		.version_patch = ver_patch,
	};
	return storage_write(ps->nvs_base + slot, &info, sizeof(info));
}

void paired_store_print(const paired_store_t *ps)
{
	paired_device_info_t info;

	ALL_INF("=== Paired Devices (%d) ===", paired_store_count(ps));
	for (int i = 0; i < ps->max_entries; i++) {
		if (storage_read(ps->nvs_base + i, &info, sizeof(info)) == 0) {
			ALL_INF("  [%d] %s ID:%d v%d.%d.%d", i, device_type_str(info.device_type),
				info.device_id, info.version_major, info.version_minor,
				info.version_patch);
		}
	}
}
```
